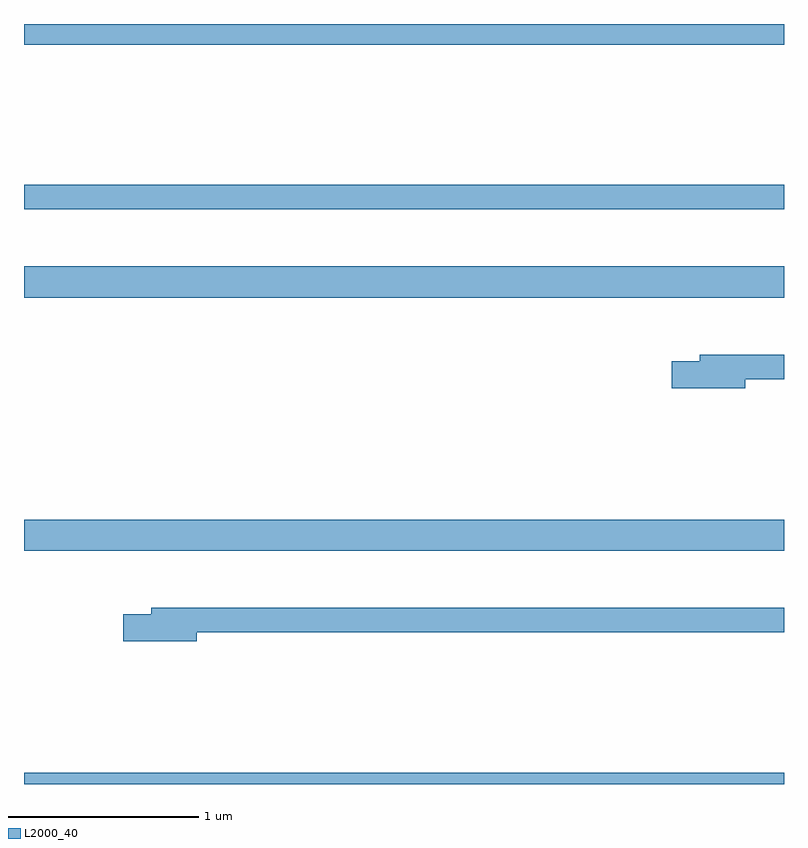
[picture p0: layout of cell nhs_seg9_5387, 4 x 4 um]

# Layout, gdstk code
import gdstk
lib = gdstk.Library(unit=1e-6, precision=1e-09)
def R(c, l, rs):  # rectangles x0, y0, x1, y1
    for r in rs: c.add(gdstk.rectangle(r[:2], r[2:], *l))
def P(c, l, *ps):  # polygons
    for p in ps: c.add(gdstk.Polygon(p, *l))
L2000_40 = (2000, 40)

nhs_seg9_5387 = lib.new_cell('nhs_seg9_5387')
R(nhs_seg9_5387, L2000_40, [(423,1220.5,427,1220.56), (423,1221.728,427,1221.892), (423,1223.06,427,1223.224), (423,1223.526,427,1223.654), (423,1224.392,427,1224.5)])
P(nhs_seg9_5387, L2000_40, [(426.796,1222.63),(427,1222.63),(427,1222.759),(426.557,1222.759),(426.557,1222.725),(426.408,1222.725),(426.408,1222.583),(426.796,1222.583)],
  [(423.91,1221.298),(427,1221.298),(427,1221.427),(423.671,1221.427),(423.671,1221.393),(423.522,1221.393),(423.522,1221.251),(423.91,1221.251)])

lib.write_gds('nhs_seg9_5387.gds')
